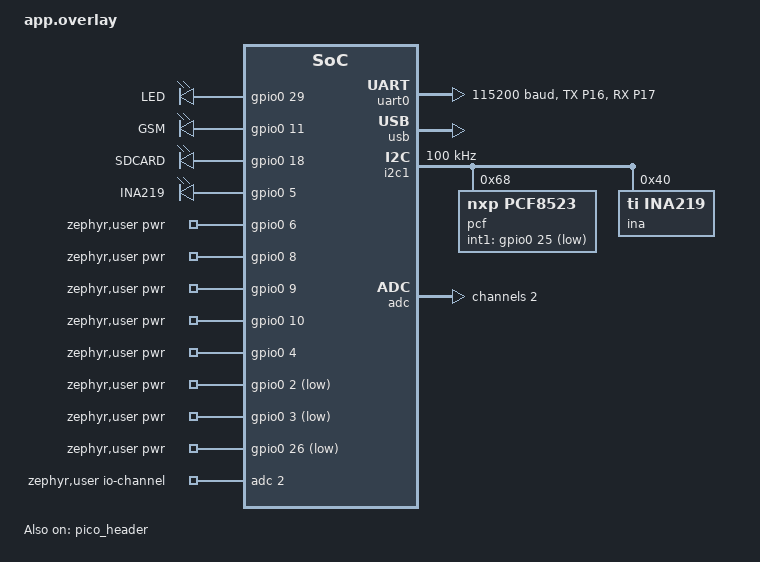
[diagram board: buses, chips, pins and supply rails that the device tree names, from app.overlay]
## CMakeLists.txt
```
cmake_minimum_required(VERSION 3.20.0)


list(APPEND DTS_ROOT
  ${CMAKE_CURRENT_SOURCE_DIR}/dts
  )
  
set(BOARD rpi_pico)
# set(CMAKE_BUILD_TYPE Debug)
find_package(Zephyr)
project(app)

FILE(GLOB app_sources src/*.c)
target_sources(app PRIVATE ${app_sources})
```

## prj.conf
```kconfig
# Copyright (c) 2022 Mr. Green's Workshop https://www.MrGreensWorkshop.com
# SPDX-License-Identifier: Apache-2.0

# Enable USB stack
CONFIG_USB_DEVICE_STACK=y

# Enable USB Initialize at boot
CONFIG_USB_DEVICE_INITIALIZE_AT_BOOT=y

# USB device descriptors
CONFIG_USB_DEVICE_VID=0x2e8a
CONFIG_USB_DEVICE_PID=0x000a
CONFIG_USB_DEVICE_PRODUCT="Pico"
CONFIG_USB_DEVICE_MANUFACTURER="Raspberry Pi"

# USB configuration descriptors
# To avoid draining the tablet's battery. PicoDRO is designed as a self-powered USB device.
# To do so, D1 is removed from the Raspberry Pi Pico and power is supplied from the VSYS pin.
# That's why, when using the PicoDRO hardware, it should be set as a self-powered USB device.

# Set to "n" for bus-powered devices (powered from the USB host) like the Raspberry Pi Pico.
# Set to "y" for self-powered devices (powered from an external power supply) like PicoDRO hardware.
CONFIG_USB_SELF_POWERED=y

# Depending on your hardware Maximum power consumption needs to be set.
# Set to "125" (250 mA) for the Raspberry Pi Pico (if there is no other external circuitry).
# Set to "1" (2 mA) for the PicoDRO hardware

# Maximum power consumption in 2 mA units
CONFIG_USB_MAX_POWER=250

# Copyright (c) 2022 Mr. Green's Workshop https://www.MrGreensWorkshop.com
# SPDX-License-Identifier: Apache-2.0

# Logging
CONFIG_LOG=y
CONFIG_CONSOLE=y
CONFIG_SERIAL=y
CONFIG_EARLY_CONSOLE=y
CONFIG_UART_CONSOLE=n

# Disable color codes on log output
CONFIG_LOG_BACKEND_SHOW_COLOR=y
CONFIG_LOG_INFO_COLOR_GREEN=y

# Set application log level
# CONFIG_MAIN_LOG_LEVEL_OFF=y   # Off
# CONFIG_MAIN_LOG_LEVEL_ERR=y   # Error
# CONFIG_MAIN_LOG_LEVEL_WRN=y   # Warning
# CONFIG_MAIN_LOG_LEVEL_INF=y   # Info
# CONFIG_MAIN_LOG_LEVEL_DBG=y

#CONFIG_LOG_DEFAULT_LEVEL=3

# Set USB log level
# CONFIG_USB_DRIVER_LOG_LEVEL_ERR=y
# CONFIG_USB_DEVICE_LOG_LEVEL_ERR=y

# Even before the USB serial port is opened at the host, log messages are pushed to the log buffer, then pushed to the USB CDC ACM ring buffer.
# This causes the ring buffer to overflow, and as a result, it adds a new log message saying the "Ring buffer full, drain buffer".
# It creates an endless loop that reproduces the same log message. This causes connection problems, like preventing the port from opening.
# Ring buffer full, drain buffer" log message still exists even if DTR line control is enabled. That's why we set the log level to error.
# Set USB CDC ACM log level
CONFIG_USB_CDC_ACM_LOG_LEVEL_ERR=y

# Enable DTR line control for logging when using USB CDC ACM.
CONFIG_UART_LINE_CTRL=y

# Debugger
CONFIG_DEBUG=y
CONFIG_DEBUG_OPTIMIZATIONS=y

#CONFIG_FLASH=y
#CONFIG_FLASH_PAGE_LAYOUT=y
#CONFIG_FLASH_MAP=y

#CONFIG_SETTINGS=y
#CONFIG_SETTINGS_RUNTIME=y
#CONFIG_NVS=y
#CONFIG_SETTINGS_NVS=y

#CONFIG_FLASH_LOG_LEVEL_DBG=y

CONFIG_SERIAL=y
CONFIG_CONSOLE=y
CONFIG_PRINTK=y
CONFIG_LOG_MODE_IMMEDIATE=n
CONFIG_UART_CONSOLE=y
CONFIG_UART_LINE_CTRL=n

CONFIG_ADC=y
CONFIG_ADC_ASYNC=n
CONFIG_HEAP_MEM_POOL_SIZE=4096

# CONFIG_RING_BUFFER=y
# CONFIG_UART_INTERRUPT_DRIVEN=y

CONFIG_I2C=y
# CONFIG_I2C_RTIO=y
# CONFIG_I2C_LOG_LEVEL_DBG=y
# CONFIG_I2C_INIT_PRIORITY=80

CONFIG_PINCTRL=y
CONFIG_PINCTRL_DYNAMIC=y

CONFIG_RTC=y
CONFIG_RTC_PCF8523=y

CONFIG_SENSOR=y
CONFIG_INA219=y
CONFIG_CBPRINTF_FP_SUPPORT=y
```

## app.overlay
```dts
/ {
        chosen {
                zephyr,console = &usb;
                uart,passthrough = &uart0;
        };

        leds {
                compatible = "gpio-leds";
                led0: led_0 {
                        gpios = <&gpio0 29 GPIO_ACTIVE_HIGH>;
                        label = "LED";
                };
                // led1: led_1 {
                        //         gpios = <&gpio0 14 GPIO_ACTIVE_HIGH>;
                        //         label = "LED";
                // };
                // led2: led_2 {
                        //         gpios = <&gpio0 15 GPIO_ACTIVE_HIGH>;
                        //         label = "LED";
                // };
        };

        pwr_control {
                compatible = "gpio-leds";
                gsmpwr: gsmpwr {
                        gpios = <&gpio0 11 GPIO_ACTIVE_HIGH>;
                        label = "GSM";
                };
                sdpwr: sdpwr {
                        gpios = <&gpio0 18 GPIO_ACTIVE_HIGH>;
                        label = "SDCARD";
                };
                inapwr: inapwr {
                        gpios = <&gpio0 5 GPIO_ACTIVE_HIGH>;
                        label = "INA219";
                };
        };


        zephyr,user {
                io-channels = <&adc 2>;
                pwr-gpios = <&gpio0 6 GPIO_ACTIVE_HIGH>,
                            <&gpio0 8 GPIO_ACTIVE_HIGH>,
                            <&gpio0 9 GPIO_ACTIVE_HIGH>,
                            <&gpio0 10 GPIO_ACTIVE_HIGH>,
                            <&gpio0 4 GPIO_ACTIVE_HIGH>,
                            <&gpio0 2 GPIO_ACTIVE_LOW>,
                            <&gpio0 3 GPIO_ACTIVE_LOW>,
                            <&gpio0 26 GPIO_ACTIVE_LOW>,
                            <&gpio0 27 GPIO_ACTIVE_LOW>;
                ina219_def = <&ina219_def>;
                pcf_def = <&pcf_def>;
        };

        aliases {
                led0 = &led0;
                // led1 = &led1;
                gsmpwr = &gsmpwr;
                inapwr = &inapwr;
                sdpwr = &sdpwr;
                ina219def = &ina219_def;
                pcfdef = &pcf_def;
                i2c1 = &i2c1;
        };

};

&uart0 {
        current-speed = <115200>;
        status = "okay";
        pinctrl-0 = <&uart_gsm>;
        pinctrl-names = "default";
};

&pinctrl {
        uart_gsm: uart_gsm {
                group1 {
                        pinmux = <UART0_TX_P16>;
                };
                group2 {
                        pinmux = <UART0_RX_P17>;
                        input-enable;
                };
        };
        ina219_def: ina219_def {
                group1 {
                        pinmux = <I2C1_SDA_P2>, <I2C1_SCL_P3>;
                        input-enable;
                        input-schmitt-enable;
                };
        };
        pcf_def: pcf_def {
                group1 {
                        pinmux = <I2C1_SDA_P26>, <I2C1_SCL_P27>;
                        input-enable;
                        input-schmitt-enable;
                };
        };
};

&zephyr_udc0 {
        usb: usb {
                compatible = "zephyr,cdc-acm-uart";
                label = "CDC_ACM_0";
        };
};

&i2c1 {
        status = "okay";
        clock-frequency = <I2C_BITRATE_STANDARD>;

        pcf: i2c1@68 {
                compatible = "nxp,pcf8523";
                reg = <0x68>;
                clkout-frequency = <0>;
                alarms-count = <1>;
                battery-switch-over = "disabled";
                int1-gpios = <&gpio0 25 (GPIO_ACTIVE_LOW | GPIO_PULL_UP)>;
                zephyr,deferred-init;
        };

        ina: i2c1@40 {
                compatible = "ti,ina219";
                reg = <0x40>;
                brng = <0>;
                pg = <0>;
                sadc = <13>;
                badc = <13>;
                shunt-milliohm = <100>;
                lsb-microamp = <10>;
                zephyr,deferred-init;
        };
};

&pico_header {
        status = "okay";
};

&adc {
        #address-cells = <1>;
        #size-cells = <0>;

        channel@2 {
                reg = <2>;
                zephyr,gain = "ADC_GAIN_1";
                zephyr,reference = "ADC_REF_INTERNAL";
                zephyr,acquisition-time = <ADC_ACQ_TIME_DEFAULT>;
                zephyr,resolution = <12>;
        };
};
```

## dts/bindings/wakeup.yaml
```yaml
# Copyright (c) 2018, Linaro Limited
# SPDX-License-Identifier: Apache-2.0

description: |
  This allows you to define a group of LEDs. Each LED in the group is

compatible: "wakeup"

child-binding:
  description: RTC Wakeup PIN
  properties:
    wakeup-source:
      type: boolean
    gpios:
      type: phandle-array
      required: true
    label:
      type: string
```

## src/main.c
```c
/*
 * Copyright (c) 2022 Mr. Green's Workshop https://www.MrGreensWorkshop.com
 *
 * SPDX-License-Identifier: Apache-2.0
 */

#include <zephyr/kernel.h>
#include <stdio.h>
#include <zephyr/drivers/uart.h>
#include <zephyr/sys/ring_buffer.h>
#include <zephyr/drivers/gpio.h>
#include <zephyr/drivers/i2c.h>
#include <inttypes.h>
#include <stddef.h>
#include <stdint.h>

#include <zephyr/device.h>
#include <zephyr/devicetree.h>
#include <zephyr/drivers/adc.h>
#include <zephyr/sys/printk.h>
#include <zephyr/sys/util.h>
#include <zephyr/logging/log.h>
#include <zephyr/pm/pm.h>
#include <zephyr/init.h>
#include <zephyr/drivers/pinctrl.h>
#include <zephyr/drivers/sensor.h>
#include <hardware/gpio.h>

LOG_MODULE_REGISTER(main, CONFIG_LOG_DEFAULT_LEVEL);

#if !DT_NODE_EXISTS(DT_PATH(zephyr_user)) || \
    !DT_NODE_HAS_PROP(DT_PATH(zephyr_user), io_channels)
#error "No suitable devicetree overlay specified"
#endif

#if !DT_NODE_EXISTS(DT_PATH(zephyr_user)) || \
    !DT_NODE_HAS_PROP(DT_PATH(zephyr_user), pwr_gpios)
#error "No suitable devicetree overlay specified"
#endif

#define DT_SPEC_AND_COMMA(node_id, prop, idx) \
    ADC_DT_SPEC_GET_BY_IDX(node_id, idx),

#define DT_SPEC_AND_COMMA_PWR(node_id, prop, idx) \
    GPIO_DT_SPEC_GET_BY_IDX(node_id, prop, idx),

static const struct gpio_dt_spec pwr_status[] = {
    DT_FOREACH_PROP_ELEM(DT_PATH(zephyr_user), pwr_gpios,
                         DT_SPEC_AND_COMMA_PWR)};

static char *pwr_status_names[] = {"STAT2", "STAT1", "#PG", "A9G", "INA219"};

/* Data of ADC io-channels specified in devicetree. */
static const struct adc_dt_spec adc_channels[] = {
    DT_FOREACH_PROP_ELEM(DT_PATH(zephyr_user), io_channels,
                         DT_SPEC_AND_COMMA)};

/* The devicetree node identifier for the "led0" alias. */
#define LED0_NODE DT_ALIAS(led0)
// #define LED1_NODE DT_ALIAS(led1)
#define GSM_NODE DT_ALIAS(gsmpwr)
#define INA_NODE DT_ALIAS(inapwr)
#define SD_NODE DT_ALIAS(sdpwr)

// #define INA_NODE DT_ALIAS(ina)
// #define SD_NODE DT_ALIAS(sd)
// #define LED2_NODE DT_ALIAS(led2)

// #define NPG_NODE DT_ALIAS(npginput)
// #define STAT1_NODE DT_ALIAS(stat1input)
// #define STAT2_NODE DT_ALIAS(stat2input)

// Devicetree
#define CONSOLE_DEVICE DEVICE_DT_GET(DT_CHOSEN(zephyr_console))
#define USB_CDC_ACM_CHECK DT_NODE_HAS_COMPAT(DT_CHOSEN(zephyr_console), zephyr_cdc_acm_uart)

PINCTRL_DT_DEV_CONFIG_DECLARE(DT_NODELABEL(i2c1));

PINCTRL_DT_STATE_PINS_DEFINE(DT_PATH(zephyr_user), ina219_def);
PINCTRL_DT_STATE_PINS_DEFINE(DT_PATH(zephyr_user), pcf_def);

#define I2C_DEV_NODE DT_ALIAS(i2c1)
struct device *i2c1_dev = DEVICE_DT_GET(I2C_DEV_NODE);
struct device *nxp_pcf8523 = DEVICE_DT_GET_ONE(nxp_pcf8523);
struct device *ti_ina219 = DEVICE_DT_GET_ONE(ti_ina219);

static const struct pinctrl_state ina219_state[] = {
    PINCTRL_DT_STATE_INIT(ina219_def, PINCTRL_STATE_DEFAULT),
};

static const struct pinctrl_state pcf_state[] = {
    PINCTRL_DT_STATE_INIT(pcf_def, PINCTRL_STATE_DEFAULT),
};

static const struct gpio_dt_spec led = GPIO_DT_SPEC_GET(LED0_NODE, gpios);
// static const struct gpio_dt_spec led1 = GPIO_DT_SPEC_GET(LED1_NODE, gpios);
static const struct gpio_dt_spec gsm_pwr = GPIO_DT_SPEC_GET(GSM_NODE, gpios);
static const struct gpio_dt_spec ina_pwr = GPIO_DT_SPEC_GET(INA_NODE, gpios);
static const struct gpio_dt_spec sd_pwr = GPIO_DT_SPEC_GET(SD_NODE, gpios);
// static const struct gpio_dt_spec led2 = GPIO_DT_SPEC_GET(LED2_NODE, gpios);
// static const struct gpio_dt_spec npg = GPIO_DT_SPEC_GET(NPG_NODE, gpios);
// static const struct gpio_dt_spec stat1 = GPIO_DT_SPEC_GET(STAT1_NODE, gpios);
// static const struct gpio_dt_spec stat2 = GPIO_DT_SPEC_GET(STAT2_NODE, gpios);

/* delay between greetings (in ms) */
#define SLEEPTIME 500

struct patch_info
{
    const uint8_t *const name;

    const struct device *rx_dev;
    struct ring_buf *rx_ring_buf;
    bool rx_error;
    bool rx_overflow;

    const struct device *tx_dev;
};

#define DEV_CONSOLE DEVICE_DT_GET(DT_CHOSEN(zephyr_console))
#define DEV_OTHER DEVICE_DT_GET(DT_CHOSEN(uart_passthrough))

#define RING_BUF_SIZE 128

RING_BUF_DECLARE(rb_console, RING_BUF_SIZE);
struct patch_info patch_c2o = {
    .name = "c2o",

    .rx_dev = DEV_CONSOLE,
    .rx_ring_buf = &rb_console,
    .rx_error = true,
    .rx_overflow = true,

    .tx_dev = DEV_OTHER,
};

RING_BUF_DECLARE(rb_other, RING_BUF_SIZE);
struct patch_info patch_o2c = {
    .name = "o2c",

    .rx_dev = DEV_OTHER,
    .rx_ring_buf = &rb_other,
    .rx_error = true,
    .rx_overflow = true,

    .tx_dev = DEV_CONSOLE,
};

static void uart_cb(const struct device *dev, void *ctx)
{
    struct patch_info *patch = (struct patch_info *)ctx;
    int ret;
    uint8_t *buf;
    uint32_t len;

    while (uart_irq_update(patch->rx_dev) > 0)
    {
        ret = uart_irq_rx_ready(patch->rx_dev);
        if (ret < 0)
        {
            patch->rx_error = true;
        }
        if (ret <= 0)
        {
            break;
        }

        len = ring_buf_put_claim(patch->rx_ring_buf, &buf, RING_BUF_SIZE);
        if (len == 0)
        {
            /* no space for Rx, disable the IRQ */
            uart_irq_rx_disable(patch->rx_dev);
            patch->rx_overflow = true;
            break;
        }

        ret = uart_fifo_read(patch->rx_dev, buf, len);
        if (ret < 0)
        {
            patch->rx_error = true;
        }
        if (ret <= 0)
        {
            break;
        }
        len = ret;

        ret = ring_buf_put_finish(patch->rx_ring_buf, len);
        if (ret != 0)
        {
            patch->rx_error = true;
            break;
        }
    }
}

static void passthrough(struct patch_info *patch)
{
    int ret;
    uint8_t *buf;
    uint32_t len;

    if (patch->rx_error)
    {
        printk("<<%s: Rx Error!>>\n", patch->name);
        patch->rx_error = false;
    }

    if (patch->rx_overflow)
    {
        printk("<<%s: Rx Overflow!>>\n", patch->name);
        patch->rx_overflow = false;
    }

    len = ring_buf_get_claim(patch->rx_ring_buf, &buf, RING_BUF_SIZE);
    if (len == 0)
    {
        goto done;
    }

    ret = uart_fifo_fill(patch->tx_dev, buf, len);
    if (ret < 0)
    {
        goto error;
    }
    len = ret;

    ret = ring_buf_get_finish(patch->rx_ring_buf, len);
    if (ret < 0)
    {
        goto error;
    }

done:
    uart_irq_rx_enable(patch->rx_dev);
    return;

error:
    printk("<<%s: Tx Error!>>\n", patch->name);
}

int compare(const void *a, const void *b)
{
    uint16_t int_a = *((uint16_t *)a);
    uint16_t int_b = *((uint16_t *)b);

    if (int_a == int_b)
        return 0;
    else if (int_a < int_b)
        return -1;
    else
        return 1;
}

#define STACKSIZE 1024
#define PRIORITY 7

// extern struct k_thread thread_a_data;
// extern void thread_a_entry_point(void *dummy1, void *dummy2, void *dummy3);
// extern K_THREAD_STACK_DEFINE(thread_a_stack_area, STACKSIZE);
// extern const k_tid_t thread_b;

void pinctrl_free_pins(const struct pinctrl_dev_config *config, uint8_t id)
{
    struct pinctrl_state *state;
    int err = pinctrl_lookup_state(config, id, &state);
    if (err < 0)
    {
        LOG_ERR("Could not pinctrl_lookup_state");
    }

    LOG_INF("Free pin %u", state->pins->pin_num);
    gpio_set_input_enabled(state->pins->pin_num, false);
}

int main(void)
{
    // #if (IS_ENABLED(USB_CDC_ACM_CHECK) && IS_ENABLED(CONFIG_LOG))
    //     const struct device *const console_dev = CONSOLE_DEVICE;
    //     uint32_t dtr_line = 0;

    //     while (!dtr_line)
    //     {
    //         uart_line_ctrl_get(console_dev, UART_LINE_CTRL_DTR, &dtr_line);
    //         k_sleep(K_MSEC(100));
    //     }
    // #endif

    int ret;
    bool led_state = true;
    k_sleep(K_MSEC(1000));

    if (!gpio_is_ready_dt(&gsm_pwr))
    {
        return 0;
    }

    ret = gpio_pin_configure_dt(&gsm_pwr, GPIO_OUTPUT_INACTIVE);
    if (ret < 0)
    {
        return 0;
    }

    if (!gpio_is_ready_dt(&ina_pwr))
    {
        return 0;
    }

    ret = gpio_pin_configure_dt(&ina_pwr, GPIO_OUTPUT_INACTIVE);
    if (ret < 0)
    {
        return 0;
    }

    gpio_pin_set_dt(&gsm_pwr, 0);
    gpio_pin_set_dt(&ina_pwr, 1);

    if (!gpio_is_ready_dt(&led))
    {
        return 0;
    }

    ret = gpio_pin_configure_dt(&led, GPIO_OUTPUT_ACTIVE);
    if (ret < 0)
    {
        return 0;
    }

    if (!gpio_is_ready_dt(&led))
    {
        return 0;
    }

    ret = gpio_pin_configure_dt(&led, GPIO_OUTPUT_ACTIVE);
    if (ret < 0)
    {
        return 0;
    }

    LOG_INF("PicoDRO application.");

    // k_thread_create(&thread_a_data, thread_a_stack_area,
    //                 K_THREAD_STACK_SIZEOF(thread_a_stack_area), thread_a_entry_point, NULL,
    //                 NULL, NULL, PRIORITY, 0, K_FOREVER);
    // k_thread_name_set(&thread_a_data, "thread_a");

    // k_thread_start(&thread_a_data);

    int err;
    uint32_t count = 0;
    uint16_t buf;
    struct adc_sequence sequence = {
        .buffer = &buf,
        /* buffer size in bytes, not number of samples */
        .buffer_size = sizeof(buf),
        .resolution = 12,
        .calibrate = true,
        .oversampling = 256,
    };

    /* Configure channels individually prior to sampling. */
    for (size_t i = 0U; i < ARRAY_SIZE(adc_channels); i++)
    {
        if (!adc_is_ready_dt(&adc_channels[i]))
        {
            LOG_ERR("ADC controller device %s not ready", adc_channels[i].dev->name);
            return 0;
        }

        err = adc_channel_setup_dt(&adc_channels[i]);
        if (err < 0)
        {
            LOG_ERR("Could not setup channel #%d (%d)", i, err);
            return 0;
        }
    }

    /* Configure channels individually prior to sampling. */
    for (size_t i = 0U; i < ARRAY_SIZE(pwr_status); i++)
    {
        if (gpio_pin_configure_dt(&pwr_status[i], GPIO_INPUT) < 0)
        {
            LOG_ERR("Could not setup GPIO #%s", pwr_status[i].port->name);
            return 0;
        }
    }

    uint16_t adc[100];
    uint32_t last_v = 0;
    uint32_t error_value = 0;

    // printk("Console Device: %p\n", patch_c2o.rx_dev);
    // printk("Other Device:   %p\n", patch_o2c.rx_dev);

    // uart_irq_callback_user_data_set(patch_c2o.rx_dev, uart_cb, (void *)&patch_c2o);
    // uart_irq_callback_user_data_set(patch_o2c.rx_dev, uart_cb, (void *)&patch_o2c);

    struct pinctrl_dev_config *i2c1_config = PINCTRL_DT_DEV_CONFIG_GET(DT_NODELABEL(i2c1));

    pinctrl_free_pins(i2c1_config, PINCTRL_STATE_DEFAULT);
    k_sleep(K_MSEC(100));

    err = pinctrl_update_states(i2c1_config, pcf_state, ARRAY_SIZE(pcf_state));
    if (err < 0)
    {
        LOG_ERR("Could not pinctrl_update_states I2C1 pcf_state");
    }

    err = pinctrl_apply_state(i2c1_config, PINCTRL_STATE_DEFAULT);
    if (err < 0)
    {
        LOG_ERR("Could not pinctrl_apply_state I2C1");
    }

    k_sleep(K_MSEC(100));

    err = device_init(nxp_pcf8523);
    if (err < 0)
    {
        LOG_ERR("Could not device_init nxp_pcf8523");
    }
    k_sleep(K_MSEC(100));

    if (!device_is_ready(nxp_pcf8523))
    {
        LOG_ERR("RTC not ready");
    }
    else
    {
        LOG_INF("RTC ready");
    }

    k_sleep(K_MSEC(100));

    pinctrl_free_pins(i2c1_config, PINCTRL_STATE_DEFAULT);
    k_sleep(K_MSEC(100));

    err = pinctrl_update_states(i2c1_config, ina219_state, ARRAY_SIZE(ina219_state));
    if (err < 0)
    {
        LOG_ERR("Could not pinctrl_update_states I2C1 ina219_state");
    }

    err = pinctrl_apply_state(i2c1_config, PINCTRL_STATE_DEFAULT);
    if (err < 0)
    {
        LOG_ERR("Could not pinctrl_apply_state I2C1");
    }

    k_sleep(K_MSEC(100));

    err = device_init(ti_ina219);
    if (err < 0)
    {
        LOG_ERR("Could not device_init ti_ina219");
    }
    k_sleep(K_MSEC(100));

    if (!device_is_ready(ti_ina219))
    {
        LOG_ERR("INA219 not ready");
    }
    else
    {
        LOG_INF("INA219 ready");
    }

    struct sensor_value v_bus, power, current;

    while (1)
    {
        ret = gpio_pin_toggle_dt(&led);
        if (ret < 0)
        {
            return 0;
        }

        led_state = !led_state;
        printf("LED state: %s\n", led_state ? "ON" : "OFF");
        ret = sensor_sample_fetch(ti_ina219);
        if (ret)
        {
            printf("Could not fetch sensor data.\n");
            // return 0;
        }

        sensor_channel_get(ti_ina219, SENSOR_CHAN_VOLTAGE, &v_bus);
        sensor_channel_get(ti_ina219, SENSOR_CHAN_POWER, &power);
        sensor_channel_get(ti_ina219, SENSOR_CHAN_CURRENT, &current);

        printf("Bus: %f [V] -- "
               "Power: %f [W] -- "
               "Current: %f [A]\n",
               sensor_value_to_double(&v_bus),
               sensor_value_to_double(&power),
               sensor_value_to_double(&current));

        /*
        // printk("ADC reading[%u]: ", count++);
        for (size_t n = 0U; n < 100; n++)
        {
            int32_t val_mv;

            (void)adc_sequence_init_dt(&adc_channels[0], &sequence);

            err = adc_read_dt(&adc_channels[0], &sequence);
            if (err < 0)
            {
                printk("Could not read (%d)\n", err);
                continue;
            }

            adc[n] = buf;
        }

        qsort(adc, 100, sizeof(uint16_t), compare);
        uint32_t v = 0;
        for (size_t n = 90; n < 100; n++)
        {
            v = v + adc[n];
        }

        uint32_t value = v * adc_ref_internal(adc_channels[0].dev) / 4096;
        value *= 6900;
        value /= 47;

        if (value >= last_v)
        {
            error_value = value - last_v;
            error_value /= (value / 100);
        }
        else
        {
            error_value = last_v - value;
            error_value /= (value / 100);
        }
        last_v = value;
        // printk("ADC reading: %u mV, error %u %%\n", value / 1000, error_value);

        // printf("GPIO state:\n");

        uint8_t pwr_pins[5];

        for (size_t i = 0U; i < ARRAY_SIZE(pwr_status); i++)
        {
            pwr_pins[i] = gpio_pin_get(pwr_status[i].port, pwr_status[i].pin);
            // printk("\t %s: %u, value: %u\n", pwr_status_names[i], pwr_status[i].pin, pwr_pins[i]);
        }

        uint32_t pwr_status = pwr_pins[2] << 16 + pwr_pins[1] << 8 + pwr_pins[0];

        // if (!pwr_pins[2])
        //     printf("PWR status: power good\n");

        // if (pwr_pins[0] && !pwr_pins[1] && !pwr_pins[2])
        //     printf("PWR status: charge\n");

        // if (!pwr_pins[0] && pwr_pins[1] && !pwr_pins[2])
        //     printf("PWR status: complete\n");

        // if (pwr_pins[0] && pwr_pins[1] && !pwr_pins[2])
        //     printf("PWR status: thermal limit\n");

        // if (pwr_pins[0] && pwr_pins[1] && pwr_pins[2])
        //     printf("PWR status: shutdown\n");

        // if (!pwr_pins[0] && !pwr_pins[1] && !pwr_pins[2])
        //     printf("PWR status: test\n");

        gpio_pin_set_dt(&led, pwr_pins[0] && !pwr_pins[1]);
*/
        // passthrough(&patch_c2o);
        // passthrough(&patch_o2c);

        k_sleep(K_MSEC(2000));
    }

    return 0;
}

// static int init_my_devices(void)
// {

//     if (!gpio_is_ready_dt(&ina_pwr))
//     {
//         return 0;
//     }

//     // if (!gpio_pin_configure_dt(&ina_pwr, GPIO_OUTPUT_INACTIVE))
//     // {
//     //     return 0;
//     // }

//     gpio_pin_set_dt(&ina_pwr, 1);

//     return device_init(ti_ina219);
// }

// SYS_INIT(init_my_devices, POST_KERNEL, 99);
```

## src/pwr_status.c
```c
/* main.c - Synchronization demo */

/*
 * Copyright (c) 2012-2014 Wind River Systems, Inc.
 *
 * SPDX-License-Identifier: Apache-2.0
 */
#include <zephyr/kernel.h>
#include <zephyr/sys/printk.h>

/*
 * The synchronization demo has two threads that utilize semaphores and sleeping
 * to take turns printing a greeting message at a controlled rate. The demo
 * shows both the static and dynamic approaches for spawning a thread; a real
 * world application would likely use the static approach for both threads.
 */

#define PIN_THREADS (IS_ENABLED(CONFIG_SMP) && IS_ENABLED(CONFIG_SCHED_CPU_MASK))

/* size of stack area used by each thread */
#define STACKSIZE 1024

/* scheduling priority used by each thread */
#define PRIORITY 7

/* delay between greetings (in ms) */
#define SLEEPTIME 1000

/*
 * @param my_name      thread identification string
 * @param my_sem       thread's own semaphore
 * @param other_sem    other thread's semaphore
 */
void hello_loop(const char *my_name,
                struct k_sem *my_sem, struct k_sem *other_sem)
{
    const char *tname;
    uint8_t cpu;
    struct k_thread *current_thread;

    while (1)
    {
        /* take my semaphore */
        k_sem_take(my_sem, K_FOREVER);

        current_thread = k_current_get();
        tname = k_thread_name_get(current_thread);
#if CONFIG_SMP
        cpu = arch_curr_cpu()->id;
#else
        cpu = 0;
#endif
        /* say "hello" */
        if (tname == NULL)
        {
            printk("%s: Hello World from cpu %d on %s!\n",
                   my_name, cpu, CONFIG_BOARD);
        }
        else
        {
            printk("%s: Hello World from cpu %d on %s!\n",
                   tname, cpu, CONFIG_BOARD);
        }

        /* wait a while, then let other thread have a turn */
        k_busy_wait(100000);
        k_msleep(SLEEPTIME);
        k_sem_give(other_sem);
    }
}

/* define semaphores */
K_SEM_DEFINE(thread_a_sem, 1, 1); /* starts off "available" */
K_SEM_DEFINE(thread_b_sem, 0, 1); /* starts off "not available" */

/* thread_a is a dynamic thread that is spawned in main */
void thread_a_entry_point(void *dummy1, void *dummy2, void *dummy3)
{
    ARG_UNUSED(dummy1);
    ARG_UNUSED(dummy2);
    ARG_UNUSED(dummy3);

    /* invoke routine to ping-pong hello messages with thread_b */
    hello_loop(__func__, &thread_a_sem, &thread_b_sem);
}
K_THREAD_STACK_DEFINE(thread_a_stack_area, STACKSIZE);
struct k_thread thread_a_data;

/* thread_b is a static thread spawned immediately */
void thread_b_entry_point(void *dummy1, void *dummy2, void *dummy3)
{
    ARG_UNUSED(dummy1);
    ARG_UNUSED(dummy2);
    ARG_UNUSED(dummy3);

    /* invoke routine to ping-pong hello messages with thread_a */
    hello_loop(__func__, &thread_b_sem, &thread_a_sem);
}

// K_THREAD_DEFINE(thread_b, STACKSIZE,
//                 thread_b_entry_point, NULL, NULL, NULL,
//                 PRIORITY, 0, 0);
// extern const k_tid_t thread_b;
```
